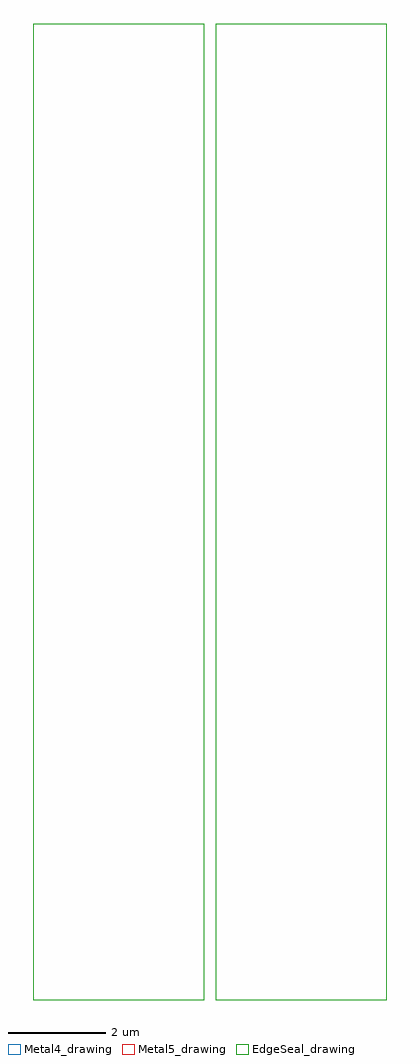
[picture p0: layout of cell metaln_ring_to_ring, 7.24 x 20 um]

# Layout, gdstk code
import gdstk
lib = gdstk.Library(unit=1e-6, precision=1e-09)
def R(c, l, rs):  # rectangles x0, y0, x1, y1
    for r in rs: c.add(gdstk.rectangle(r[:2], r[2:], *l))
EdgeSeal_drawing = (39, 0)
Metal4_drawing = (50, 0)
Metal5_drawing = (67, 0)

metaln_ring_to_ring = lib.new_cell('metaln_ring_to_ring')
R(metaln_ring_to_ring, EdgeSeal_drawing, [(-3.5,-5,0,15), (0.235,-5,3.735,15)])
R(metaln_ring_to_ring, Metal4_drawing, [(-3.5,-5,0,15), (0.235,-5,3.735,15)])
R(metaln_ring_to_ring, Metal5_drawing, [(-3.5,-5,0,15), (0.235,-5,3.735,15)])
metaln_ring_to_ring.add(gdstk.Label('metaln_ring_to_ring: two 3.5 ring strips, gap 0.235', (0,-6), layer=63, texttype=0))

lib.write_gds('metaln_ring_to_ring.gds')
